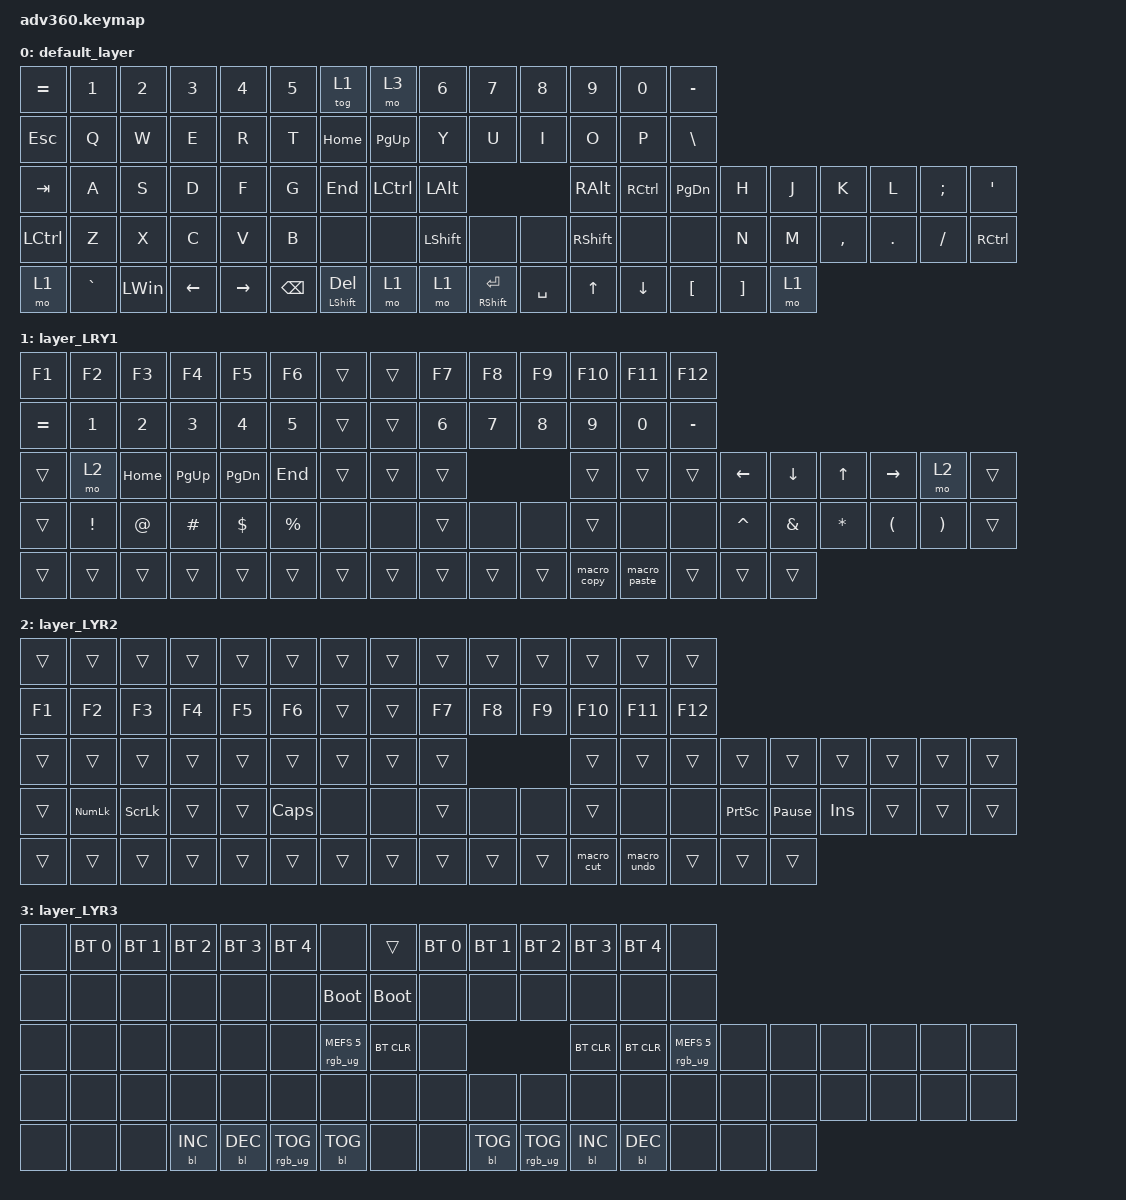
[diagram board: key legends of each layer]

/*
 * Copyright (c) 2020 The ZMK Contributors
 *
 * SPDX-License-Identifier: MIT
 */


/* THIS FILE WAS GENERATED!
 *
 * This file was generated automatically. You may or may not want to
 * edit it directly.
 */

#include <behaviors.dtsi>
#include <dt-bindings/zmk/keys.h>
#include <dt-bindings/zmk/bt.h>
#include <dt-bindings/zmk/rgb.h>
#include <dt-bindings/zmk/backlight.h>

/ {
  behaviors {
    #include "macros.dtsi"

    hm: homerow_mods {
        compatible = "zmk,behavior-hold-tap";
        label = "HOMEROW_MODS";
        #binding-cells = <2>;
        tapping-term-ms = <200>;
        quick_tap_ms = <175>;
        flavor = "tap-preferred";
        bindings = <&kp>, <&kp>;
    };
  };

    keymap {
        compatible = "zmk,keymap";


        default_layer {
            bindings = <
 &kp EQUAL     &kp N1        &kp N2    &kp N3     &kp N4    &kp N5                           &tog 1        &mo 3      &kp N6                 &kp N7     &kp N8         &kp N9     &kp N0  &kp MINUS
   &kp ESC      &kp Q         &kp W     &kp E      &kp R     &kp T                         &kp HOME  &kp PAGE_UP       &kp Y                  &kp U      &kp I          &kp O      &kp P   &kp BSLH
   &kp TAB      &kp A         &kp S     &kp D      &kp F     &kp G                          &kp END    &kp LCTRL    &kp LALT                                    &kp RIGHT_ALT  &kp RCTRL  &kp PG_DN     &kp H   &kp J      &kp K    &kp L  &kp SEMI    &kp SQT
 &kp LCTRL      &kp Z         &kp X     &kp C      &kp V     &kp B                            &none        &none  &kp LSHIFT                  &none      &none     &kp RSHIFT      &none      &none     &kp N   &kp M  &kp COMMA  &kp DOT  &kp FSLH  &kp RCTRL
     &mo 1  &kp GRAVE  &kp LEFT_WIN  &kp LEFT  &kp RIGHT  &kp BSPC            &mt LEFT_SHIFT DELETE        &mo 1       &mo 1  &mt RIGHT_SHIFT ENTER  &kp SPACE         &kp UP   &kp DOWN   &kp LBKT  &kp RBKT   &mo 1
            >;
        };

        layer_LRY1 {
            bindings = <
    &kp F1           &kp F2    &kp F3     &kp F4     &kp F5       &kp F6            &trans  &trans  &kp F7  &kp F8  &kp F9      &kp F10       &kp F11    &kp F12
 &kp EQUAL           &kp N1    &kp N2     &kp N3     &kp N4       &kp N5            &trans  &trans  &kp N6  &kp N7  &kp N8       &kp N9        &kp N0  &kp MINUS
    &trans            &mo 2  &kp HOME  &kp PG_UP  &kp PG_DN      &kp END            &trans  &trans  &trans                       &trans        &trans     &trans  &kp LEFT_ARROW  &kp DOWN_ARROW  &kp UP_ARROW       &kp RIGHT_ARROW                  &mo 2  &trans
    &trans  &kp EXCLAMATION    &kp AT   &kp HASH   &kp DLLR  &kp PERCENT             &none   &none  &trans   &none   &none       &trans         &none      &none       &kp CARET   &kp AMPERSAND     &kp ASTRK  &kp LEFT_PARENTHESIS  &kp RIGHT_PARENTHESIS  &trans
    &trans           &trans    &trans     &trans     &trans       &trans            &trans  &trans  &trans  &trans  &trans  &macro_copy  &macro_paste     &trans          &trans          &trans
            >;
        };

        layer_LYR2 {
            bindings = <
 &trans          &trans          &trans  &trans  &trans        &trans            &trans  &trans  &trans  &trans  &trans      &trans       &trans   &trans
 &kp F1          &kp F2          &kp F3  &kp F4  &kp F5        &kp F6            &trans  &trans  &kp F7  &kp F8  &kp F9     &kp F10      &kp F11  &kp F12
 &trans          &trans          &trans  &trans  &trans        &trans            &trans  &trans  &trans                      &trans       &trans   &trans           &trans           &trans      &trans  &trans  &trans  &trans
 &trans  &kp KP_NUMLOCK  &kp SCROLLLOCK  &trans  &trans  &kp CAPSLOCK             &none   &none  &trans   &none   &none      &trans        &none    &none  &kp PRINTSCREEN  &kp PAUSE_BREAK  &kp INSERT  &trans  &trans  &trans
 &trans          &trans          &trans  &trans  &trans        &trans            &trans  &trans  &trans  &trans  &trans  &macro_cut  &macro_undo   &trans           &trans           &trans
            >;
        };

        layer_LYR3 {
            bindings = <
  &none  &bt BT_SEL 0  &bt BT_SEL 1  &bt BT_SEL 2  &bt BT_SEL 3     &bt BT_SEL 4                             &none       &trans  &bt BT_SEL 0  &bt BT_SEL 1     &bt BT_SEL 2  &bt BT_SEL 3  &bt BT_SEL 4                   &none
  &none         &none         &none         &none         &none            &none                       &bootloader  &bootloader         &none         &none            &none         &none         &none                   &none
  &none         &none         &none         &none         &none            &none            &rgb_ug RGB_MEFS_CMD 5   &bt BT_CLR         &none                                   &bt BT_CLR    &bt BT_CLR  &rgb_ug RGB_MEFS_CMD 5   &none   &none   &none   &none   &none   &none
  &none         &none         &none         &none         &none            &none                             &none        &none         &none         &none            &none         &none         &none                   &none   &none   &none   &none   &none   &none   &none
  &none         &none         &none    &bl BL_INC    &bl BL_DEC  &rgb_ug RGB_TOG                        &bl BL_TOG        &none         &none    &bl BL_TOG  &rgb_ug RGB_TOG    &bl BL_INC    &bl BL_DEC                   &none   &none   &none
            >;
        };

    };
};
